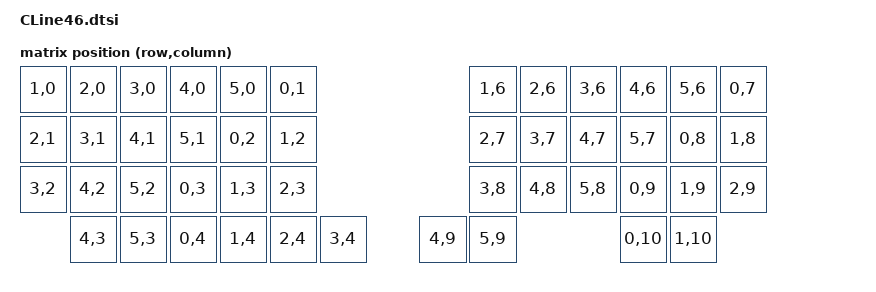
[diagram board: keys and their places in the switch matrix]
#include <dt-bindings/zmk/matrix_transform.h>
#include <physical_layouts.dtsi>
#include <input/processors.dtsi>
#include <dt-bindings/zmk/input_transform.h>

/ {
    chosen {
        zmk,physical-layout = &cline46_physical_layout;
        zmk,battery = &non_lipo_battery;
    };

    cline46_physical_layout: cline46_physical_layout {
        compatible = "zmk,physical-layout";
        display-name = "Default";
        transform = <&default_transform>;
        kscan = <&kscan0>;

        keys  //                     w   h    x    y     rot    rx    ry
            = <&key_physical_attrs 100 100    0    0       0     0     0>
            , <&key_physical_attrs 100 100  100    0       0     0     0>
            , <&key_physical_attrs 100 100  200    0       0     0     0>
            , <&key_physical_attrs 100 100  300    0       0     0     0>
            , <&key_physical_attrs 100 100  400    0       0     0     0>
            , <&key_physical_attrs 100 100  500    0       0     0     0>
            , <&key_physical_attrs 100 100  900    0       0     0     0>
            , <&key_physical_attrs 100 100 1000    0       0     0     0>
            , <&key_physical_attrs 100 100 1100    0       0     0     0>
            , <&key_physical_attrs 100 100 1200    0       0     0     0>
            , <&key_physical_attrs 100 100 1300    0       0     0     0>
            , <&key_physical_attrs 100 100 1400    0       0     0     0>
        

            , <&key_physical_attrs 100 100    0    100     0     0     0>
            , <&key_physical_attrs 100 100  100    100     0     0     0>
            , <&key_physical_attrs 100 100  200    100     0     0     0>
            , <&key_physical_attrs 100 100  300    100     0     0     0>
            , <&key_physical_attrs 100 100  400    100     0     0     0>
            , <&key_physical_attrs 100 100  500    100     0     0     0>
            , <&key_physical_attrs 100 100  900    100     0     0     0>
            , <&key_physical_attrs 100 100 1000    100     0     0     0>
            , <&key_physical_attrs 100 100 1100    100     0     0     0>
            , <&key_physical_attrs 100 100 1200    100     0     0     0>
            , <&key_physical_attrs 100 100 1300    100     0     0     0>
            , <&key_physical_attrs 100 100 1400    100     0     0     0>

            , <&key_physical_attrs 100 100    0    200     0     0     0>
            , <&key_physical_attrs 100 100  100    200     0     0     0>
            , <&key_physical_attrs 100 100  200    200     0     0     0>
            , <&key_physical_attrs 100 100  300    200     0     0     0>
            , <&key_physical_attrs 100 100  400    200     0     0     0>
            , <&key_physical_attrs 100 100  500    200     0     0     0>
            , <&key_physical_attrs 100 100  900    200     0     0     0>
            , <&key_physical_attrs 100 100 1000    200     0     0     0>
            , <&key_physical_attrs 100 100 1100    200     0     0     0>
            , <&key_physical_attrs 100 100 1200    200     0     0     0>
            , <&key_physical_attrs 100 100 1300    200     0     0     0>
            , <&key_physical_attrs 100 100 1400    200     0     0     0>

            , <&key_physical_attrs 100 100  100    300     0     0     0>
            , <&key_physical_attrs 100 100  200    300     0     0     0>
            , <&key_physical_attrs 100 100  300    300     0     0     0>
            , <&key_physical_attrs 100 100  400    300     0     0     0>
            , <&key_physical_attrs 100 100  500    300     0     0     0>
            , <&key_physical_attrs 100 100  600    300     0     0     0>
            , <&key_physical_attrs 100 100  800    300     0     0     0>
            , <&key_physical_attrs 100 100  900    300     0     0     0>
            , <&key_physical_attrs 100 100 1200    300     0     0     0>
            , <&key_physical_attrs 100 100 1300    300     0     0     0>
            ;
    };

    default_transform: keymap_transform_0 {
        compatible = "zmk,matrix-transform";
        columns = <12>;
        rows = <4>;
        map = <
            RC(1,0) RC(2,0) RC(3,0) RC(4,0) RC(5,0) RC(0,1)                  RC(1,6) RC(2,6) RC(3,6) RC(4,6)  RC(5,6) RC(0,7)
            RC(2,1) RC(3,1) RC(4,1) RC(5,1) RC(0,2) RC(1,2)                  RC(2,7) RC(3,7) RC(4,7) RC(5,7)  RC(0,8) RC(1,8)
            RC(3,2) RC(4,2) RC(5,2) RC(0,3) RC(1,3) RC(2,3)                  RC(3,8) RC(4,8) RC(5,8) RC(0,9)  RC(1,9) RC(2,9)
                    RC(4,3) RC(5,3) RC(0,4) RC(1,4) RC(2,4) RC(3,4)  RC(4,9) RC(5,9)                 RC(0,10) RC(1,10)  
        >;
    };

    kscan0: kscan {
        compatible = "zmk,kscan-gpio-charlieplex";
        // d キー等のチャタリング対策でデフォルト値(5ms)から引き上げ
        debounce-press-ms = <10>;
        debounce-release-ms = <10>;
        gpios
        = <&xiao_d 2 (GPIO_ACTIVE_HIGH)>
        , <&xiao_d 3 (GPIO_ACTIVE_HIGH)>
        , <&xiao_d 4 (GPIO_ACTIVE_HIGH)>
        , <&xiao_d 5 (GPIO_ACTIVE_HIGH)>
        , <&xiao_d 6 (GPIO_ACTIVE_HIGH)>
        , <&xiao_d 7 (GPIO_ACTIVE_HIGH)>
        ;
        wakeup-source;
        interrupt-gpios = <&xiao_d 1 (GPIO_ACTIVE_HIGH | GPIO_PULL_DOWN)>;
    };

    trackball_listener: trackball_listener {
        compatible = "zmk,input-listener";
        status = "disabled";
    };

    vbatt: vbatt {
        // Disable default battery monitoring
        status = "disabled";
    };
    non_lipo_battery: non_lipo_battery {
        compatible = "zmk,non-lipo-battery";
        io-channels = <&adc 0>;  // Replace with your ADC channel number
        
        // Optional: Power control GPIO for the voltage divider
        //power-gpios = <&gpio0 3 GPIO_ACTIVE_HIGH>;  // Replace with your GPIO
    };
};

&adc {
    status = "okay";
};

&spi0 {
    status = "disabled";

    trackball: trackball@0 {
        status = "disabled";
        reg = <0>;
    };
};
